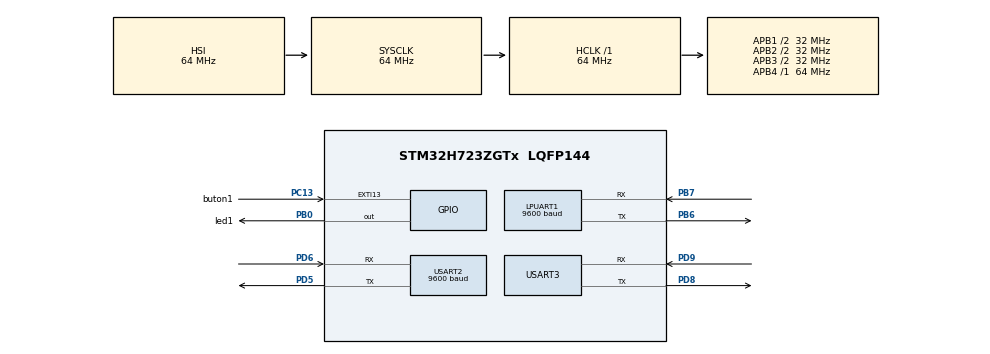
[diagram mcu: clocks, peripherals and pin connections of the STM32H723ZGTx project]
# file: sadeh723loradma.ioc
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Bdma.LPUART1_RX.0.Direction=DMA_PERIPH_TO_MEMORY
Bdma.LPUART1_RX.0.EventEnable=DISABLE
Bdma.LPUART1_RX.0.Instance=BDMA_Channel0
Bdma.LPUART1_RX.0.MemDataAlignment=DMA_MDATAALIGN_BYTE
Bdma.LPUART1_RX.0.MemInc=DMA_MINC_ENABLE
Bdma.LPUART1_RX.0.Mode=DMA_CIRCULAR
Bdma.LPUART1_RX.0.PeriphDataAlignment=DMA_PDATAALIGN_BYTE
Bdma.LPUART1_RX.0.PeriphInc=DMA_PINC_DISABLE
Bdma.LPUART1_RX.0.Polarity=HAL_DMAMUX_REQ_GEN_RISING
Bdma.LPUART1_RX.0.Priority=DMA_PRIORITY_LOW
Bdma.LPUART1_RX.0.RequestNumber=1
Bdma.LPUART1_RX.0.SignalID=NONE
Bdma.LPUART1_RX.0.SyncEnable=DISABLE
Bdma.LPUART1_RX.0.SyncPolarity=HAL_DMAMUX_SYNC_NO_EVENT
Bdma.LPUART1_RX.0.SyncRequestNumber=1
Bdma.LPUART1_RX.0.SyncSignalID=NONE
Bdma.LPUART1_TX.1.Direction=DMA_MEMORY_TO_PERIPH
Bdma.LPUART1_TX.1.EventEnable=DISABLE
Bdma.LPUART1_TX.1.Instance=BDMA_Channel1
Bdma.LPUART1_TX.1.MemDataAlignment=DMA_MDATAALIGN_BYTE
Bdma.LPUART1_TX.1.MemInc=DMA_MINC_ENABLE
Bdma.LPUART1_TX.1.Mode=DMA_NORMAL
Bdma.LPUART1_TX.1.PeriphDataAlignment=DMA_PDATAALIGN_BYTE
Bdma.LPUART1_TX.1.PeriphInc=DMA_PINC_DISABLE
Bdma.LPUART1_TX.1.Polarity=HAL_DMAMUX_REQ_GEN_RISING
Bdma.LPUART1_TX.1.Priority=DMA_PRIORITY_LOW
Bdma.LPUART1_TX.1.RequestNumber=1
Bdma.LPUART1_TX.1.SignalID=NONE
Bdma.LPUART1_TX.1.SyncEnable=DISABLE
Bdma.LPUART1_TX.1.SyncPolarity=HAL_DMAMUX_SYNC_NO_EVENT
Bdma.LPUART1_TX.1.SyncRequestNumber=1
Bdma.LPUART1_TX.1.SyncSignalID=NONE
Bdma.Request0=LPUART1_RX
Bdma.Request1=LPUART1_TX
Bdma.RequestsNb=2
CORTEX_M7.default_mode_Activation=1
Dma.Request0=USART2_TX
Dma.Request1=USART2_RX
Dma.USART2_RX.1.Direction=DMA_PERIPH_TO_MEMORY
Dma.USART2_RX.1.EventEnable=DISABLE
Dma.USART2_RX.1.FIFOMode=DMA_FIFOMODE_DISABLE
Dma.USART2_RX.1.Instance=DMA1_Stream1
Dma.USART2_RX.1.MemDataAlignment=DMA_MDATAALIGN_BYTE
Dma.USART2_RX.1.MemInc=DMA_MINC_ENABLE
Dma.USART2_RX.1.Mode=DMA_CIRCULAR
Dma.USART2_RX.1.PeriphDataAlignment=DMA_PDATAALIGN_BYTE
Dma.USART2_RX.1.PeriphInc=DMA_PINC_DISABLE
Dma.USART2_RX.1.Polarity=HAL_DMAMUX_REQ_GEN_RISING
Dma.USART2_RX.1.Priority=DMA_PRIORITY_LOW
Dma.USART2_RX.1.RequestNumber=1
Dma.USART2_RX.1.SignalID=NONE
Dma.USART2_RX.1.SyncEnable=DISABLE
Dma.USART2_RX.1.SyncPolarity=HAL_DMAMUX_SYNC_NO_EVENT
Dma.USART2_RX.1.SyncRequestNumber=1
Dma.USART2_RX.1.SyncSignalID=NONE
Dma.USART2_TX.0.Direction=DMA_MEMORY_TO_PERIPH
Dma.USART2_TX.0.EventEnable=DISABLE
Dma.USART2_TX.0.FIFOMode=DMA_FIFOMODE_DISABLE
Dma.USART2_TX.0.Instance=DMA1_Stream0
Dma.USART2_TX.0.MemDataAlignment=DMA_MDATAALIGN_BYTE
Dma.USART2_TX.0.MemInc=DMA_MINC_ENABLE
Dma.USART2_TX.0.Mode=DMA_NORMAL
Dma.USART2_TX.0.PeriphDataAlignment=DMA_PDATAALIGN_BYTE
Dma.USART2_TX.0.PeriphInc=DMA_PINC_DISABLE
Dma.USART2_TX.0.Polarity=HAL_DMAMUX_REQ_GEN_RISING
Dma.USART2_TX.0.Priority=DMA_PRIORITY_LOW
Dma.USART2_TX.0.RequestNumber=1
Dma.USART2_TX.0.SignalID=NONE
Dma.USART2_TX.0.SyncEnable=DISABLE
Dma.USART2_TX.0.SyncPolarity=HAL_DMAMUX_SYNC_NO_EVENT
Dma.USART2_TX.0.SyncRequestNumber=1
Dma.USART2_TX.0.SyncSignalID=NONE
LPUART1.BaudRate=9600
Mcu.Family=STM32H7
Mcu.Name=STM32H723ZGTx
Mcu.Package=LQFP144
NVIC.BDMA_Channel0_IRQn=true\:0\:0\:false\:false\:true\:false\:true\:true
NVIC.BDMA_Channel1_IRQn=true\:0\:0\:false\:false\:true\:false\:true\:true
NVIC.DMA1_Stream0_IRQn=true\:0\:0\:false\:false\:true\:false\:true\:true
NVIC.DMA1_Stream1_IRQn=true\:0\:0\:false\:false\:true\:false\:true\:true
NVIC.EXTI15_10_IRQn=true\:0\:0\:false\:false\:true\:true\:true\:true
NVIC.LPUART1_IRQn=true\:0\:0\:false\:false\:true\:true\:true\:true
NVIC.PriorityGroup=NVIC_PRIORITYGROUP_4
NVIC.USART2_IRQn=true\:0\:0\:false\:false\:true\:true\:true\:true
PB0.GPIO_Label=led1
PB0.Signal=GPIO_Output
PB6.Mode=Asynchronous
PB6.Signal=LPUART1_TX
PB7.Mode=Asynchronous
PB7.Signal=LPUART1_RX
PC13.GPIO_Label=buton1
PC13.GPIO_ModeDefaultEXTI=GPIO_MODE_IT_FALLING
PC13.Signal=GPXTI13
PC14-OSC32_IN.Mode=LSE-External-Oscillator
PC14-OSC32_IN.Signal=RCC_OSC32_IN
PC15-OSC32_OUT.Mode=LSE-External-Oscillator
PC15-OSC32_OUT.Signal=RCC_OSC32_OUT
PD5.Mode=Asynchronous
PD5.Signal=USART2_TX
PD6.Mode=Asynchronous
PD6.Signal=USART2_RX
PD8.Mode=Asynchronous
PD8.Signal=USART3_TX
PD9.Mode=Asynchronous
PD9.Signal=USART3_RX
ProjectManager.HeapSize=0x200
ProjectManager.StackSize=0x400
ProjectManager.TargetToolchain=STM32CubeIDE
RCC.ADCFreq_Value=129000000
RCC.APB1Freq_Value=32000000
RCC.APB2Freq_Value=32000000
RCC.APB3Freq_Value=32000000
RCC.APB4Freq_Value=64000000
RCC.CortexFreq_Value=64000000
RCC.D1PPRE=RCC_APB3_DIV2
RCC.D2PPRE1=RCC_APB1_DIV2
RCC.D2PPRE2=RCC_APB2_DIV2
RCC.HCLKFreq_Value=64000000
RCC.LPUART1CLockSelection=RCC_LPUART1CLKSOURCE_LSE
RCC.SYSCLKFreq_VALUE=64000000
RCC.USBFreq_Value=129000000
USART2.BaudRate=9600
USART2.VirtualMode-Asynchronous=VM_ASYNC
USART3.VirtualMode-Asynchronous=VM_ASYNC
VP_MEMORYMAP_VS_MEMORYMAP.Mode=CurAppReg
board=custom

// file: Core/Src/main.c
/* USER CODE BEGIN Header */
/**
  ******************************************************************************
  * @file           : main.c
  * @brief          : Main program body
  ******************************************************************************
  * @attention
  *
  * Copyright (c) 2025 STMicroelectronics.
  * All rights reserved.
  *
  * This software is licensed under terms that can be found in the LICENSE file
  * in the root directory of this software component.
  * If no LICENSE file comes with this software, it is provided AS-IS.
  *
  ******************************************************************************
  */
/* USER CODE END Header */
#include "main.h"

/* USER CODE BEGIN Includes */
#include <stdio.h>
#include <string.h>
#include <stdbool.h>
/* USER CODE END Includes */

/* USER CODE BEGIN PM */
typedef struct {
	uint8_t address_high;   // 1 byte
	uint8_t address_low;    // 1 byte
	uint8_t channel;        // 1 byte
	char sifre[15];
	char konum[15];
	uint8_t btn1;
	uint8_t btn2[10];
	uint8_t btn3[4];    // 4 byte
} Signal;
//#pragma pack(pop)

Signal mSignal;

typedef struct {
	char sifre[15];
	char konum[15];
	uint8_t btn1;
	uint8_t btn2[10];
	uint8_t btn3[4];
} Signal2;
/* USER CODE END PM */

UART_HandleTypeDef hlpuart1;
UART_HandleTypeDef huart2;
UART_HandleTypeDef huart3;
DMA_HandleTypeDef hdma_lpuart1_rx;
DMA_HandleTypeDef hdma_lpuart1_tx;
DMA_HandleTypeDef hdma_usart2_tx;
DMA_HandleTypeDef hdma_usart2_rx;

/* USER CODE BEGIN PV */
Signal2 receivedData;             // Gelen struct verisi
uint8_t rxBuffer[sizeof(Signal2)]; // DMA tamponu
volatile uint8_t dataReady = 0;   // Yeni veri işareti
/* USER CODE END PV */

void SystemClock_Config(void);
static void MPU_Config(void);
static void MX_GPIO_Init(void);
static void MX_DMA_Init(void);
static void MX_BDMA_Init(void);
static void MX_USART2_UART_Init(void);
static void MX_USART3_UART_Init(void);
static void MX_LPUART1_UART_Init(void);

/* USER CODE BEGIN 0 */
void HAL_UART_RxCpltCallback(UART_HandleTypeDef *huart) {
	if (huart->Instance == LPUART1) {
		// Gelen veriyi struct'a aktar
		memcpy(&receivedData, rxBuffer, sizeof(Signal2));
		dataReady = 1; // Yeni veri işareti koy
		printf("data gelfi\r\n");
	}
}
/* USER CODE END 0 */

int main(void)
{

  /* MPU Configuration--------------------------------------------------------*/
  MPU_Config();

  /* MCU Configuration--------------------------------------------------------*/

  /* Reset of all peripherals, Initializes the Flash interface and the Systick. */
  HAL_Init();

  /* Configure the system clock */
  SystemClock_Config();

  /* Initialize all configured peripherals */
  MX_GPIO_Init();
  MX_DMA_Init();
  MX_BDMA_Init();
  MX_USART2_UART_Init();
  MX_USART3_UART_Init();
  MX_LPUART1_UART_Init();
  /* USER CODE BEGIN 2 */

  HAL_UART_Receive_DMA(&hlpuart1, rxBuffer, sizeof(Signal2));
  /* USER CODE END 2 */

  /* Infinite loop */
  while (1)
  {

    /* USER CODE BEGIN 3 */
	  printf("Merhaba Fixaj\r\n\r\n \r\n");
	  	  		if (dataReady) {
	  	  			dataReady = 0; // Veri işaretini sıfırla

	  	  			// Şifre kontrolü
	  	  			if (strcmp(receivedData.sifre, "Fixaj.com") == 0) {
	  	  				printf("Şifre doğru\r\n");
	  	  				printf("Konum: %s\r\n", receivedData.konum);
	  	  				printf("Buton durumu: %s\r\n",
	  	  						receivedData.btn1 ? "Aktif" : "Pasif");

	  	  				// Float koordinat için btn2'yi dönüştür
	  	  				float koordinat = *(float*) (receivedData.btn2);
	  	  				printf("Koordinat: %.6f\r\n", koordinat);

	  	  				// Büyük sayı için btn3'ü dönüştür
	  	  				int buyukSayi = *(int*) (receivedData.btn3);
	  	  				printf("Büyük sayı: %d\r\n", buyukSayi);
	  	  			} else {
	  	  				printf("Şifre yanlış!\r\n");
	  	  			}
	  	  		}

	  	  		HAL_Delay(1000); // Döngüyü yavaşlatmak için gecikme
  }
  /* USER CODE END 3 */
}

void SystemClock_Config(void)
{
  RCC_OscInitTypeDef RCC_OscInitStruct = {0};
  RCC_ClkInitTypeDef RCC_ClkInitStruct = {0};

  /** Supply configuration update enable
  */
  HAL_PWREx_ConfigSupply(PWR_LDO_SUPPLY);

  /** Configure the main internal regulator output voltage
  */
  __HAL_PWR_VOLTAGESCALING_CONFIG(PWR_REGULATOR_VOLTAGE_SCALE3);

  while(!__HAL_PWR_GET_FLAG(PWR_FLAG_VOSRDY)) {}

  /** Configure LSE Drive Capability
  */
  HAL_PWR_EnableBkUpAccess();
  __HAL_RCC_LSEDRIVE_CONFIG(RCC_LSEDRIVE_LOW);

  /** Initializes the RCC Oscillators according to the specified parameters
  * in the RCC_OscInitTypeDef structure.
  */
  RCC_OscInitStruct.OscillatorType = RCC_OSCILLATORTYPE_HSI|RCC_OSCILLATORTYPE_LSE;
  RCC_OscInitStruct.LSEState = RCC_LSE_ON;
  RCC_OscInitStruct.HSIState = RCC_HSI_DIV1;
  RCC_OscInitStruct.HSICalibrationValue = 64;
  RCC_OscInitStruct.PLL.PLLState = RCC_PLL_NONE;
  if (HAL_RCC_OscConfig(&RCC_OscInitStruct) != HAL_OK)
  {
    Error_Handler();
  }

  /** Initializes the CPU, AHB and APB buses clocks
  */
  RCC_ClkInitStruct.ClockType = RCC_CLOCKTYPE_HCLK|RCC_CLOCKTYPE_SYSCLK
                              |RCC_CLOCKTYPE_PCLK1|RCC_CLOCKTYPE_PCLK2
                              |RCC_CLOCKTYPE_D3PCLK1|RCC_CLOCKTYPE_D1PCLK1;
  RCC_ClkInitStruct.SYSCLKSource = RCC_SYSCLKSOURCE_HSI;
  RCC_ClkInitStruct.SYSCLKDivider = RCC_SYSCLK_DIV1;
  RCC_ClkInitStruct.AHBCLKDivider = RCC_HCLK_DIV1;
  RCC_ClkInitStruct.APB3CLKDivider = RCC_APB3_DIV2;
  RCC_ClkInitStruct.APB1CLKDivider = RCC_APB1_DIV2;
  RCC_ClkInitStruct.APB2CLKDivider = RCC_APB2_DIV2;
  RCC_ClkInitStruct.APB4CLKDivider = RCC_APB4_DIV1;

  if (HAL_RCC_ClockConfig(&RCC_ClkInitStruct, FLASH_LATENCY_1) != HAL_OK)
  {
    Error_Handler();
  }
}

static void MX_LPUART1_UART_Init(void)
{

  hlpuart1.Instance = LPUART1;
  hlpuart1.Init.BaudRate = 9600;
  hlpuart1.Init.WordLength = UART_WORDLENGTH_8B;
  hlpuart1.Init.StopBits = UART_STOPBITS_1;
  hlpuart1.Init.Parity = UART_PARITY_NONE;
  hlpuart1.Init.Mode = UART_MODE_TX_RX;
  hlpuart1.Init.HwFlowCtl = UART_HWCONTROL_NONE;
  hlpuart1.Init.OneBitSampling = UART_ONE_BIT_SAMPLE_DISABLE;
  hlpuart1.Init.ClockPrescaler = UART_PRESCALER_DIV1;
  hlpuart1.AdvancedInit.AdvFeatureInit = UART_ADVFEATURE_NO_INIT;
  hlpuart1.FifoMode = UART_FIFOMODE_DISABLE;
  if (HAL_UART_Init(&hlpuart1) != HAL_OK)
  {
    Error_Handler();
  }
  if (HAL_UARTEx_SetTxFifoThreshold(&hlpuart1, UART_TXFIFO_THRESHOLD_1_8) != HAL_OK)
  {
    Error_Handler();
  }
  if (HAL_UARTEx_SetRxFifoThreshold(&hlpuart1, UART_RXFIFO_THRESHOLD_1_8) != HAL_OK)
  {
    Error_Handler();
  }
  if (HAL_UARTEx_DisableFifoMode(&hlpuart1) != HAL_OK)
  {
    Error_Handler();
  }

}

static void MX_USART2_UART_Init(void)
{

  huart2.Instance = USART2;
  huart2.Init.BaudRate = 9600;
  huart2.Init.WordLength = UART_WORDLENGTH_8B;
  huart2.Init.StopBits = UART_STOPBITS_1;
  huart2.Init.Parity = UART_PARITY_NONE;
  huart2.Init.Mode = UART_MODE_TX_RX;
  huart2.Init.HwFlowCtl = UART_HWCONTROL_NONE;
  huart2.Init.OverSampling = UART_OVERSAMPLING_16;
  huart2.Init.OneBitSampling = UART_ONE_BIT_SAMPLE_DISABLE;
  huart2.Init.ClockPrescaler = UART_PRESCALER_DIV1;
  huart2.AdvancedInit.AdvFeatureInit = UART_ADVFEATURE_NO_INIT;
  if (HAL_UART_Init(&huart2) != HAL_OK)
  {
    Error_Handler();
  }
  if (HAL_UARTEx_SetTxFifoThreshold(&huart2, UART_TXFIFO_THRESHOLD_1_8) != HAL_OK)
  {
    Error_Handler();
  }
  if (HAL_UARTEx_SetRxFifoThreshold(&huart2, UART_RXFIFO_THRESHOLD_1_8) != HAL_OK)
  {
    Error_Handler();
  }
  if (HAL_UARTEx_DisableFifoMode(&huart2) != HAL_OK)
  {
    Error_Handler();
  }

}

static void MX_USART3_UART_Init(void)
{

  huart3.Instance = USART3;
  huart3.Init.BaudRate = 115200;
  huart3.Init.WordLength = UART_WORDLENGTH_8B;
  huart3.Init.StopBits = UART_STOPBITS_1;
  huart3.Init.Parity = UART_PARITY_NONE;
  huart3.Init.Mode = UART_MODE_TX_RX;
  huart3.Init.HwFlowCtl = UART_HWCONTROL_NONE;
  huart3.Init.OverSampling = UART_OVERSAMPLING_16;
  huart3.Init.OneBitSampling = UART_ONE_BIT_SAMPLE_DISABLE;
  huart3.Init.ClockPrescaler = UART_PRESCALER_DIV1;
  huart3.AdvancedInit.AdvFeatureInit = UART_ADVFEATURE_NO_INIT;
  if (HAL_UART_Init(&huart3) != HAL_OK)
  {
    Error_Handler();
  }
  if (HAL_UARTEx_SetTxFifoThreshold(&huart3, UART_TXFIFO_THRESHOLD_1_8) != HAL_OK)
  {
    Error_Handler();
  }
  if (HAL_UARTEx_SetRxFifoThreshold(&huart3, UART_RXFIFO_THRESHOLD_1_8) != HAL_OK)
  {
    Error_Handler();
  }
  if (HAL_UARTEx_DisableFifoMode(&huart3) != HAL_OK)
  {
    Error_Handler();
  }

}

static void MX_BDMA_Init(void)
{

  /* DMA controller clock enable */
  __HAL_RCC_BDMA_CLK_ENABLE();

  /* DMA interrupt init */
  /* BDMA_Channel0_IRQn interrupt configuration */
  HAL_NVIC_SetPriority(BDMA_Channel0_IRQn, 0, 0);
  HAL_NVIC_EnableIRQ(BDMA_Channel0_IRQn);
  /* BDMA_Channel1_IRQn interrupt configuration */
  HAL_NVIC_SetPriority(BDMA_Channel1_IRQn, 0, 0);
  HAL_NVIC_EnableIRQ(BDMA_Channel1_IRQn);

}

static void MX_DMA_Init(void)
{

  /* DMA controller clock enable */
  __HAL_RCC_DMA1_CLK_ENABLE();

  /* DMA interrupt init */
  /* DMA1_Stream0_IRQn interrupt configuration */
  HAL_NVIC_SetPriority(DMA1_Stream0_IRQn, 0, 0);
  HAL_NVIC_EnableIRQ(DMA1_Stream0_IRQn);
  /* DMA1_Stream1_IRQn interrupt configuration */
  HAL_NVIC_SetPriority(DMA1_Stream1_IRQn, 0, 0);
  HAL_NVIC_EnableIRQ(DMA1_Stream1_IRQn);

}

static void MX_GPIO_Init(void)
{
  GPIO_InitTypeDef GPIO_InitStruct = {0};

  /* GPIO Ports Clock Enable */
  __HAL_RCC_GPIOC_CLK_ENABLE();
  __HAL_RCC_GPIOB_CLK_ENABLE();
  __HAL_RCC_GPIOD_CLK_ENABLE();

  /*Configure GPIO pin Output Level */
  HAL_GPIO_WritePin(led1_GPIO_Port, led1_Pin, GPIO_PIN_RESET);

  /*Configure GPIO pin : buton1_Pin */
  GPIO_InitStruct.Pin = buton1_Pin;
  GPIO_InitStruct.Mode = GPIO_MODE_IT_FALLING;
  GPIO_InitStruct.Pull = GPIO_NOPULL;
  HAL_GPIO_Init(buton1_GPIO_Port, &GPIO_InitStruct);

  /*Configure GPIO pin : led1_Pin */
  GPIO_InitStruct.Pin = led1_Pin;
  GPIO_InitStruct.Mode = GPIO_MODE_OUTPUT_PP;
  GPIO_InitStruct.Pull = GPIO_NOPULL;
  GPIO_InitStruct.Speed = GPIO_SPEED_FREQ_LOW;
  HAL_GPIO_Init(led1_GPIO_Port, &GPIO_InitStruct);

  /* EXTI interrupt init*/
  HAL_NVIC_SetPriority(buton1_EXTI_IRQn, 0, 0);
  HAL_NVIC_EnableIRQ(buton1_EXTI_IRQn);

}

/* USER CODE BEGIN 4 */

void HAL_GPIO_EXTI_Callback(uint16_t GPIO_Pin)
{
	if(GPIO_Pin == buton1_Pin){
	    HAL_GPIO_TogglePin(led1_GPIO_Port, led1_Pin);

		mSignal.address_high = 0x00;
		mSignal.address_low = 2;
		mSignal.channel = 23;

		strcpy(mSignal.sifre, "Fixaj.com");    // "Fixaj.com\0"
		strcpy(mSignal.konum, "Teknofest");   // "Teknofest\0"
		mSignal.btn1 = true; // true yerine 1

		*(float*) mSignal.btn2 = 37.199386f;
		*(int*) mSignal.btn3 = 1453;

		HAL_UART_Transmit_DMA(&hlpuart1, (uint8_t*) &mSignal, sizeof(mSignal));

	   // HAL_Delay(50);
	}
}

void HAL_UART_TxCpltCallback(UART_HandleTypeDef *huart) {
	if (huart->Instance == LPUART1) {
		//Turn LD2 ON
		HAL_GPIO_TogglePin(led1_GPIO_Port	, led1_Pin);
		//HAL_UART_Transmit_DMA(&huart2, (uint8_t*) &mSignal, sizeof(Signal));
		// Gönderilecek veri
		//	char message[] = "Merhaba Dünya\r\n";

		// DMA ile UART üzerinden gönder
		//HAL_UART_Transmit_DMA(&huart2, (uint8_t*) message, strlen(message));
		//HAL_UART_Transmit_DMA(&huart2, (uint8_t*)&mSignal, sizeof(mSignal));
		printf("Address High: %02X\r\n", mSignal.address_high);
		printf("Address Low: %02X\r\n", mSignal.address_low);
		printf("Channel: %d\r\n", mSignal.channel);
		printf("Sifre: %s\r\n", mSignal.sifre);
		printf("Konum: %s\r\n", mSignal.konum);
		printf("Btn1: %d\r\n", mSignal.btn1);
		printf("Btn2 (Float): %f\r\n", *(float*) mSignal.btn2);
	//	printf("Btn3 (Int): %d\r\n", *(int*) mSignal.btn3);

	}
}

int __io_putchar(int ch) {
	uint8_t c[1];
	c[0] = ch & 0x00FF;
	HAL_UART_Transmit(&huart3, &*c, 1, 10);
	return ch;
}

int _write(int file, char *ptr, int len) {
	int DataIdx;
	for (DataIdx = 0; DataIdx < len; DataIdx++) {
		__io_putchar(*ptr++);
	}
	return len;
}

/* USER CODE END 4 */

 /* MPU Configuration */

void MPU_Config(void)
{
  MPU_Region_InitTypeDef MPU_InitStruct = {0};

  /* Disables the MPU */
  HAL_MPU_Disable();

  /** Initializes and configures the Region and the memory to be protected
  */
  MPU_InitStruct.Enable = MPU_REGION_ENABLE;
  MPU_InitStruct.Number = MPU_REGION_NUMBER0;
  MPU_InitStruct.BaseAddress = 0x0;
  MPU_InitStruct.Size = MPU_REGION_SIZE_4GB;
  MPU_InitStruct.SubRegionDisable = 0x87;
  MPU_InitStruct.TypeExtField = MPU_TEX_LEVEL0;
  MPU_InitStruct.AccessPermission = MPU_REGION_NO_ACCESS;
  MPU_InitStruct.DisableExec = MPU_INSTRUCTION_ACCESS_DISABLE;
  MPU_InitStruct.IsShareable = MPU_ACCESS_SHAREABLE;
  MPU_InitStruct.IsCacheable = MPU_ACCESS_NOT_CACHEABLE;
  MPU_InitStruct.IsBufferable = MPU_ACCESS_NOT_BUFFERABLE;

  HAL_MPU_ConfigRegion(&MPU_InitStruct);
  /* Enables the MPU */
  HAL_MPU_Enable(MPU_PRIVILEGED_DEFAULT);

}

void Error_Handler(void)
{
  __disable_irq();
  while (1)
  {
  }
}
